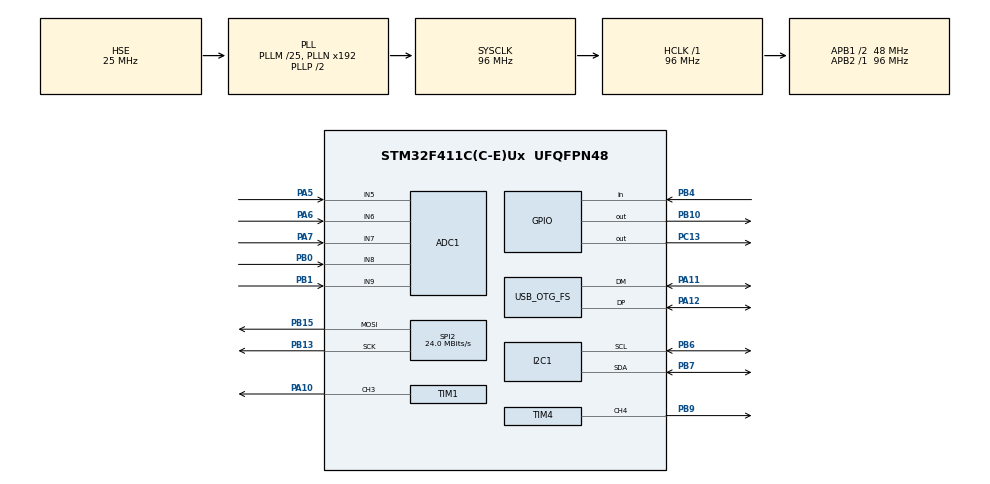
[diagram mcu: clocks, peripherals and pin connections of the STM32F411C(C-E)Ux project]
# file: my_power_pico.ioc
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ADC1.Channel-0\#ChannelRegularConversion=ADC_CHANNEL_5
ADC1.Channel-1\#ChannelRegularConversion=ADC_CHANNEL_6
ADC1.Channel-2\#ChannelRegularConversion=ADC_CHANNEL_7
ADC1.Channel-3\#ChannelRegularConversion=ADC_CHANNEL_8
ADC1.Channel-4\#ChannelRegularConversion=ADC_CHANNEL_9
ADC1.DMAContinuousRequests=ENABLE
ADC1.DiscontinuousConvMode=DISABLE
ADC1.EOCSelection=ADC_EOC_SINGLE_CONV
ADC1.EnableAnalogWatchDog=false
ADC1.ExternalTrigConv=ADC_EXTERNALTRIGCONV_T2_TRGO
ADC1.NbrOfConversion=5
ADC1.NbrOfConversionFlag=1
ADC1.Rank-0\#ChannelRegularConversion=1
ADC1.Rank-1\#ChannelRegularConversion=2
ADC1.Rank-2\#ChannelRegularConversion=3
ADC1.Rank-3\#ChannelRegularConversion=4
ADC1.Rank-4\#ChannelRegularConversion=5
ADC1.SamplingTime-0\#ChannelRegularConversion=ADC_SAMPLETIME_28CYCLES
ADC1.SamplingTime-1\#ChannelRegularConversion=ADC_SAMPLETIME_28CYCLES
ADC1.SamplingTime-2\#ChannelRegularConversion=ADC_SAMPLETIME_28CYCLES
ADC1.SamplingTime-3\#ChannelRegularConversion=ADC_SAMPLETIME_28CYCLES
ADC1.SamplingTime-4\#ChannelRegularConversion=ADC_SAMPLETIME_28CYCLES
ADC1.ScanConvMode=ENABLE
ADC1.master=1
Dma.ADC1.1.Direction=DMA_PERIPH_TO_MEMORY
Dma.ADC1.1.FIFOMode=DMA_FIFOMODE_DISABLE
Dma.ADC1.1.Instance=DMA2_Stream0
Dma.ADC1.1.MemDataAlignment=DMA_MDATAALIGN_HALFWORD
Dma.ADC1.1.MemInc=DMA_MINC_ENABLE
Dma.ADC1.1.Mode=DMA_CIRCULAR
Dma.ADC1.1.PeriphDataAlignment=DMA_PDATAALIGN_HALFWORD
Dma.ADC1.1.PeriphInc=DMA_PINC_DISABLE
Dma.ADC1.1.Priority=DMA_PRIORITY_LOW
Dma.Request0=SPI2_TX
Dma.Request1=ADC1
Dma.SPI2_TX.0.Direction=DMA_MEMORY_TO_PERIPH
Dma.SPI2_TX.0.FIFOMode=DMA_FIFOMODE_DISABLE
Dma.SPI2_TX.0.Instance=DMA1_Stream4
Dma.SPI2_TX.0.MemDataAlignment=DMA_MDATAALIGN_BYTE
Dma.SPI2_TX.0.MemInc=DMA_MINC_ENABLE
Dma.SPI2_TX.0.Mode=DMA_NORMAL
Dma.SPI2_TX.0.PeriphDataAlignment=DMA_PDATAALIGN_BYTE
Dma.SPI2_TX.0.PeriphInc=DMA_PINC_DISABLE
Dma.SPI2_TX.0.Priority=DMA_PRIORITY_LOW
FREERTOS.Tasks01=defaultTask,24,128,StartDefaultTask,Default,NULL,Dynamic,NULL,NULL
FREERTOS.configUSE_TICK_HOOK=1
Mcu.Family=STM32F4
Mcu.Name=STM32F411C(C-E)Ux
Mcu.Package=UFQFPN48
NVIC.DMA1_Stream4_IRQn=true\:5\:0\:false\:false\:true\:true\:false\:true\:true
NVIC.DMA2_Stream0_IRQn=true\:5\:0\:false\:false\:true\:true\:false\:true\:true
NVIC.OTG_FS_IRQn=true\:5\:0\:false\:false\:true\:true\:true\:true\:true
NVIC.PriorityGroup=NVIC_PRIORITYGROUP_4
NVIC.TIM1_TRG_COM_TIM11_IRQn=true\:15\:0\:true\:false\:true\:false\:false\:true\:true
NVIC.TimeBase=TIM1_TRG_COM_TIM11_IRQn
NVIC.TimeBaseIP=TIM11
PA10.Signal=S_TIM1_CH3
PA11.Mode=Device_Only
PA11.Signal=USB_OTG_FS_DM
PA12.Mode=Device_Only
PA12.Signal=USB_OTG_FS_DP
PA13.Mode=Serial_Wire
PA13.Signal=SYS_JTMS-SWDIO
PA14.Mode=Serial_Wire
PA14.Signal=SYS_JTCK-SWCLK
PA5.Signal=ADCx_IN5
PA6.Signal=ADCx_IN6
PA7.Signal=ADCx_IN7
PB0.Signal=ADCx_IN8
PB1.Signal=ADCx_IN9
PB10.GPIO_PuPd=GPIO_PULLDOWN
PB10.Signal=GPIO_Output
PB13.Mode=TX_Only_Simplex_Unidirect_Master
PB13.Signal=SPI2_SCK
PB15.Mode=TX_Only_Simplex_Unidirect_Master
PB15.Signal=SPI2_MOSI
PB4.Signal=GPIO_Input
PB6.Mode=I2C
PB6.Signal=I2C1_SCL
PB7.Mode=I2C
PB7.Signal=I2C1_SDA
PB9.Signal=S_TIM4_CH4
PC13-ANTI_TAMP.GPIO_PuPd=GPIO_NOPULL
PC13-ANTI_TAMP.Signal=GPIO_Output
PH0\ -\ OSC_IN.Mode=HSE-External-Oscillator
PH0\ -\ OSC_IN.Signal=RCC_OSC_IN
PH1\ -\ OSC_OUT.Mode=HSE-External-Oscillator
PH1\ -\ OSC_OUT.Signal=RCC_OSC_OUT
ProjectManager.HeapSize=0x200
ProjectManager.StackSize=0x400
ProjectManager.TargetToolchain=MDK-ARM V5
RCC.48MHZClocksFreq_Value=48000000
RCC.AHBFreq_Value=96000000
RCC.APB1CLKDivider=RCC_HCLK_DIV2
RCC.APB1Freq_Value=48000000
RCC.APB1TimFreq_Value=96000000
RCC.APB2Freq_Value=96000000
RCC.APB2TimFreq_Value=96000000
RCC.CortexFreq_Value=96000000
RCC.HCLKFreq_Value=96000000
RCC.HSE_VALUE=25000000
RCC.HSI_VALUE=16000000
RCC.LSE_VALUE=32768
RCC.PLLM=25
RCC.SYSCLKFreq_VALUE=96000000
RCC.SYSCLKSource=RCC_SYSCLKSOURCE_PLLCLK
RCC.VCOOutputFreq_Value=192000000
SH.ADCx_IN5.0=ADC1_IN5,IN5
SH.ADCx_IN6.0=ADC1_IN6,IN6
SH.ADCx_IN7.0=ADC1_IN7,IN7
SH.ADCx_IN8.0=ADC1_IN8,IN8
SH.ADCx_IN9.0=ADC1_IN9,IN9
SH.S_TIM1_CH3.0=TIM1_CH3,PWM Generation3 CH3
SH.S_TIM4_CH4.0=TIM4_CH4,PWM Generation4 CH4
SPI2.CLKPhase=SPI_PHASE_2EDGE
SPI2.CLKPolarity=SPI_POLARITY_HIGH
SPI2.CalculateBaudRate=24.0 MBits/s
SPI2.Direction=SPI_DIRECTION_2LINES
SPI2.Mode=SPI_MODE_MASTER
SPI2.VirtualType=VM_MASTER
TIM1.Channel-PWM\ Generation3\ CH3=TIM_CHANNEL_3
TIM1.Period=300
TIM1.Prescaler=95
TIM2.AutoReloadPreload=TIM_AUTORELOAD_PRELOAD_ENABLE
TIM2.Period=99
TIM2.Prescaler=95
TIM2.TIM_MasterOutputTrigger=TIM_TRGO_UPDATE
TIM4.Channel-PWM\ Generation4\ CH4=TIM_CHANNEL_4
TIM4.Period=500
TIM4.Prescaler=95
TIM4.Pulse-PWM\ Generation4\ CH4=250
TIM5.Channel-PWM\ Generation1\ No\ Output=TIM_CHANNEL_1
TIM5.Prescaler=95
USB_DEVICE.CLASS_NAME_FS=CDC
USB_DEVICE.VirtualMode=Cdc
USB_DEVICE.VirtualModeFS=Cdc_FS
USB_OTG_FS.VirtualMode=Device_Only
VP_FREERTOS_VS_CMSIS_V2.Mode=CMSIS_V2
VP_SYS_VS_tim11.Mode=TIM11
VP_TIM2_VS_ClockSourceINT.Mode=Internal
VP_TIM5_VS_no_output1.Mode=PWM Generation1 No Output
VP_USB_DEVICE_VS_USB_DEVICE_CDC_FS.Mode=CDC_FS
board=custom

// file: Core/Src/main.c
/* USER CODE BEGIN Header */
/**
  ******************************************************************************
  * @file           : main.c
  * @brief          : Main program body
  ******************************************************************************
  * @attention
  *
  * Copyright (c) 2026 STMicroelectronics.
  * All rights reserved.
  *
  * This software is licensed under terms that can be found in the LICENSE file
  * in the root directory of this software component.
  * If no LICENSE file comes with this software, it is provided AS-IS.
  *
  ******************************************************************************
  */
/* USER CODE END Header */
#include "main.h"
#include "cmsis_os.h"
#include "adc.h"
#include "dma.h"
#include "i2c.h"
#include "spi.h"
#include "tim.h"
#include "usb_device.h"
#include "gpio.h"

/* USER CODE BEGIN Includes */
#include "gate.h"

/* USER CODE END Includes */

void SystemClock_Config(void);
void MX_FREERTOS_Init(void);

int main(void)
{

  /* USER CODE BEGIN 1 */
  // App 链接地址是 0x08010000，因此中断向量表也必须指向同一地址。
  // 这里的 0x10000 必须与 Keil IROM1 起始地址和链接脚本保持一致。
	SCB->VTOR = FLASH_BASE + 0x00010000U;
  /* USER CODE END 1 */

  /* MCU Configuration--------------------------------------------------------*/

  /* Reset of all peripherals, Initializes the Flash interface and the Systick. */
  HAL_Init();

  /* Configure the system clock */
  SystemClock_Config();

  /* USER CODE BEGIN SysInit */
  /*
   * 外设和RTOS启动前先把采样流路固定到HIGH档。
   * 未知负载上电时优先使用最小采样电阻，降低误入LOW档的风险。
   */
  Gate_Port_Init();
  flow_route_selection(HIGH_CUR);

  // 明确打开总中断。后续 DMA、定时器和 RTOS 调度都依赖中断工作。
  __enable_irq();
  /* USER CODE END SysInit */

  /* Initialize all configured peripherals */
  MX_GPIO_Init();
  MX_DMA_Init();
  MX_I2C1_Init();
  MX_SPI2_Init();
  MX_TIM1_Init();
  MX_TIM4_Init();
  MX_TIM5_Init();
  MX_ADC1_Init();
  MX_TIM2_Init();
  /* USER CODE BEGIN 2 */
  if (HAL_TIM_Base_Start(&htim5)!=HAL_OK)
  {
    Error_Handler();
  }
  ClearMicrosecondCounter();//上电先清除微秒计数器
  /* USER CODE END 2 */

  /* Init scheduler */
  osKernelInitialize();  /* Call init function for freertos objects (in cmsis_os2.c) */
  MX_FREERTOS_Init();

  /* Start scheduler */
  osKernelStart();

  /* We should never get here as control is now taken by the scheduler */

  /* Infinite loop */
  while (1)
  {

  }
}

void SystemClock_Config(void)
{
  RCC_OscInitTypeDef RCC_OscInitStruct = {0};
  RCC_ClkInitTypeDef RCC_ClkInitStruct = {0};

  /** Configure the main internal regulator output voltage
  */
  __HAL_RCC_PWR_CLK_ENABLE();
  __HAL_PWR_VOLTAGESCALING_CONFIG(PWR_REGULATOR_VOLTAGE_SCALE1);

  /** Initializes the RCC Oscillators according to the specified parameters
  * in the RCC_OscInitTypeDef structure.
  */
  RCC_OscInitStruct.OscillatorType = RCC_OSCILLATORTYPE_HSE;
  RCC_OscInitStruct.HSEState = RCC_HSE_ON;
  RCC_OscInitStruct.PLL.PLLState = RCC_PLL_ON;
  RCC_OscInitStruct.PLL.PLLSource = RCC_PLLSOURCE_HSE;
  RCC_OscInitStruct.PLL.PLLM = 25;
  RCC_OscInitStruct.PLL.PLLN = 192;
  RCC_OscInitStruct.PLL.PLLP = RCC_PLLP_DIV2;
  RCC_OscInitStruct.PLL.PLLQ = 4;
  if (HAL_RCC_OscConfig(&RCC_OscInitStruct) != HAL_OK)
  {
    Error_Handler();
  }

  /** Initializes the CPU, AHB and APB buses clocks
  */
  RCC_ClkInitStruct.ClockType = RCC_CLOCKTYPE_HCLK|RCC_CLOCKTYPE_SYSCLK
                              |RCC_CLOCKTYPE_PCLK1|RCC_CLOCKTYPE_PCLK2;
  RCC_ClkInitStruct.SYSCLKSource = RCC_SYSCLKSOURCE_PLLCLK;
  RCC_ClkInitStruct.AHBCLKDivider = RCC_SYSCLK_DIV1;
  RCC_ClkInitStruct.APB1CLKDivider = RCC_HCLK_DIV2;
  RCC_ClkInitStruct.APB2CLKDivider = RCC_HCLK_DIV1;

  if (HAL_RCC_ClockConfig(&RCC_ClkInitStruct, FLASH_LATENCY_3) != HAL_OK)
  {
    Error_Handler();
  }
}

void HAL_TIM_PeriodElapsedCallback(TIM_HandleTypeDef *htim)
{
  if (htim->Instance == TIM11)
  {
    HAL_IncTick();
  }
}

void Error_Handler(void)
{
  __disable_irq();
  while (1)
  {
  }
}

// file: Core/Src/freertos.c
/* USER CODE BEGIN Header */
/**
  ******************************************************************************
  * File Name          : freertos.c
  * Description        : Code for freertos applications
  ******************************************************************************
  * @attention
  *
  * Copyright (c) 2026 STMicroelectronics.
  * All rights reserved.
  *
  * This software is licensed under terms that can be found in the LICENSE file
  * in the root directory of this software component.
  * If no LICENSE file comes with this software, it is provided AS-IS.
  *
  ******************************************************************************
  */
/* USER CODE END Header */

#include "FreeRTOS.h"
#include "task.h"
#include "main.h"
#include "cmsis_os.h"

/* USER CODE BEGIN Includes */
#include "user_TasksInit.h"
#include "user_CmdStrategy.h"
#include "user_LVGLTask.h"
/* USER CODE END Includes */

/* Definitions for defaultTask */
osThreadId_t defaultTaskHandle;
const osThreadAttr_t defaultTask_attributes = {
  .name = "defaultTask",
  .stack_size = 128 * 4,
  .priority = (osPriority_t) osPriorityNormal,
};

void StartDefaultTask(void *argument);

extern void MX_USB_DEVICE_Init(void);
void MX_FREERTOS_Init(void); /* (MISRA C 2004 rule 8.1) */

void MX_FREERTOS_Init(void) {

  /* Create the thread(s) */
  /* creation of defaultTask */
  defaultTaskHandle = osThreadNew(StartDefaultTask, NULL, &defaultTask_attributes);

  /* USER CODE BEGIN RTOS_THREADS */
  /* ADC处理优先级高于LCD任务，避免LCD整屏刷新拖慢自动换挡。 */
  User_Tasks_Init();
  /* USER CODE END RTOS_THREADS */

}

void StartDefaultTask(void *argument)
{
  /* init code for USB_DEVICE */
  MX_USB_DEVICE_Init();
  /* USER CODE BEGIN StartDefaultTask */
  (void)argument;

  /*
   * STEP6D以后，LCD由LvHandlerTask独占。
   * STEP6E以后，USB字节解析由MessageReceiveTask负责。
   * defaultTask只保留命令处理和心跳灯。
   */

  /* Infinite loop */
  for(;;)
  {
    CmdStrategy_Process();  //命令处理任务
    HAL_GPIO_TogglePin(GPIOC, GPIO_PIN_13);  //心跳灯任务
    /* 低速后台任务周期。 */
    osDelay(200U);
  }
  /* USER CODE END StartDefaultTask */
}

/* USER CODE BEGIN Application */
/**
 * @brief FreeRTOS系统节拍回调
 *
 * 当前configTICK_RATE_HZ为1000Hz，
 * 因此每次调用代表经过1ms。
 */
void vApplicationTickHook(void)
{
    TaskTickHook();
}
/* USER CODE END Application */
